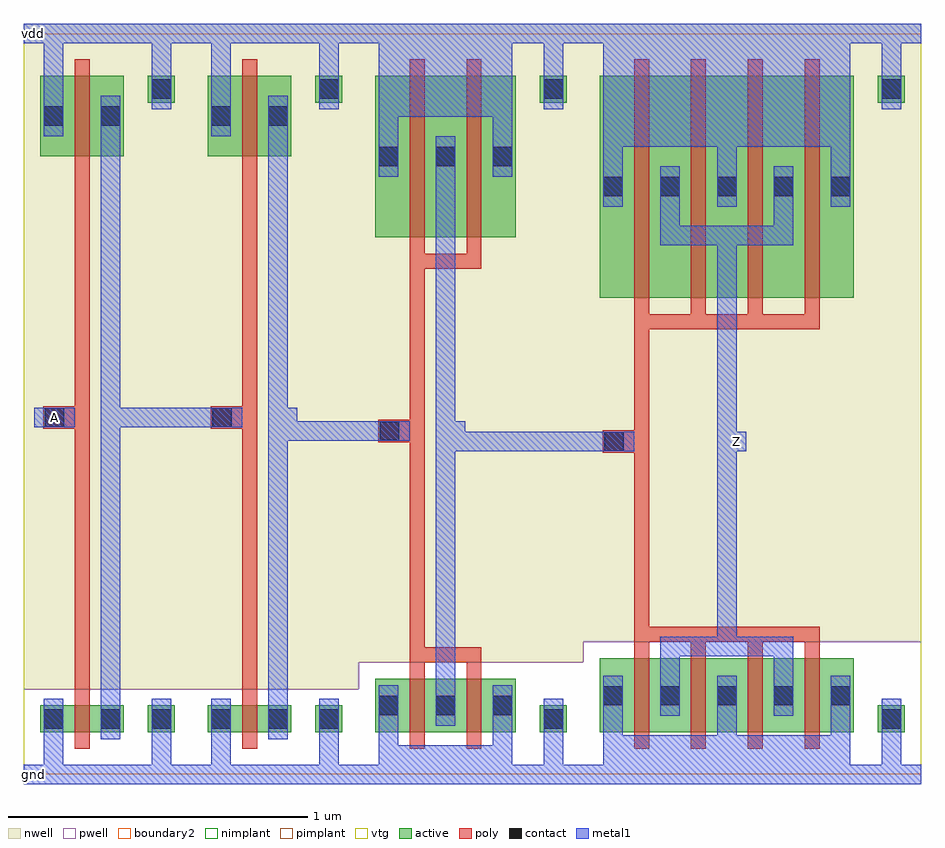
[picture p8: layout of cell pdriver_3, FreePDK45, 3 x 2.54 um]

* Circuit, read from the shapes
.subckt pdriver_3 A Z gnd vdd
M1 pinv_8_1/A A gnd gnd nfet w=0.09u l=0.05u
M2 pinv_7_2/A pinv_8_1/A gnd gnd nfet w=0.09u l=0.05u
M3 pinv_13_3/A pinv_7_2/A gnd gnd nfet w=0.18u l=0.05u m=2
M4 Z pinv_13_3/A gnd gnd nfet w=0.2475u l=0.05u m=4
M5 pinv_8_1/A A vdd vdd pfet w=0.27u l=0.05u
M6 pinv_7_2/A pinv_8_1/A vdd vdd pfet w=0.27u l=0.05u
M7 pinv_13_3/A pinv_7_2/A vdd vdd pfet w=0.54u l=0.05u m=2
M8 Z pinv_13_3/A vdd vdd pfet w=0.7425u l=0.05u m=4
.ends

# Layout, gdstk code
import gdstk
lib = gdstk.Library(unit=1e-6, precision=5e-10)
def R(c, l, rs):  # rectangles x0, y0, x1, y1
    for r in rs: c.add(gdstk.rectangle(r[:2], r[2:], *l))
def A(c, l, x, y, w, h, nx, ny, dx, dy):  # array of equal rectangles
    R(c, l, [(x+i*dx, y+j*dy, x+i*dx+w, y+j*dy+h) for i in range(nx) for j in range(ny)])
active = (1, 0)
pwell = (2, 0)
nwell = (3, 0)
nimplant = (4, 0)
pimplant = (5, 0)
vtg = (6, 0)
poly = (9, 0)
contact = (10, 0)
metal1 = (11, 0)
boundary2 = (239, 0)

contact_9 = lib.new_cell('contact_9')
R(contact_9, active, [(0,0.0225,0.09,0.1125)])
R(contact_9, nwell, [(-0.055,-0.0325,0.145,0.1675)])
R(contact_9, pimplant, [(0,0.0225,0.09,0.1125)])
R(contact_9, contact, [(0.0125,0.035,0.0775,0.1)])
R(contact_9, metal1, [(0.0125,0,0.0775,0.135)])

pmos_m1_w0_270_a_p = lib.new_cell('pmos_m1_w0_270_a_p')
R(pmos_m1_w0_270_a_p, active, [(0,0,0.28,0.27)])
R(pmos_m1_w0_270_a_p, nwell, [(-0.055,-0.055,0.335,0.325)])
R(pmos_m1_w0_270_a_p, pimplant, [(0,0,0.28,0.27)])
R(pmos_m1_w0_270_a_p, vtg, [(-0.055,-0.055,0.335,0.325)])
R(pmos_m1_w0_270_a_p, poly, [(0.115,-0.055,0.165,0.325), (0.115,-0.055,0.165,0.325)])
R(pmos_m1_w0_270_a_p, metal1, [(0.0125,0.0675,0.0775,0.2025), (0.2025,0.0675,0.2675,0.2025)])
pmos_m1_w0_270_a_p.add(gdstk.Reference(contact_9, (0,0.0675)))
pmos_m1_w0_270_a_p.add(gdstk.Reference(contact_9, (0.19,0.0675)))
pmos_m1_w0_270_a_p.add(gdstk.Label('G', (0.14,0.135), layer=9, texttype=0))
pmos_m1_w0_270_a_p.add(gdstk.Label('S', (0.045,0.135), layer=11, texttype=0))
pmos_m1_w0_270_a_p.add(gdstk.Label('D', (0.235,0.135), layer=11, texttype=0))

contact_14 = lib.new_cell('contact_14')
R(contact_14, active, [(0,0.0225,0.09,0.1125)])
R(contact_14, pwell, [(-0.055,-0.0325,0.145,0.1675)])
R(contact_14, nimplant, [(0,0.0225,0.09,0.1125)])
R(contact_14, contact, [(0.0125,0.035,0.0775,0.1)])
R(contact_14, metal1, [(0.0125,0,0.0775,0.135)])

nmos_m1_w0_090_a_p = lib.new_cell('nmos_m1_w0_090_a_p')
R(nmos_m1_w0_090_a_p, active, [(0,0,0.28,0.09)])
R(nmos_m1_w0_090_a_p, pwell, [(-0.055,-0.055,0.335,0.145)])
R(nmos_m1_w0_090_a_p, nimplant, [(0,0,0.28,0.09)])
R(nmos_m1_w0_090_a_p, vtg, [(-0.055,-0.055,0.335,0.145)])
R(nmos_m1_w0_090_a_p, poly, [(0.115,-0.055,0.165,0.145), (0.115,-0.055,0.165,0.145)])
R(nmos_m1_w0_090_a_p, metal1, [(0.0125,-0.0225,0.0775,0.1125), (0.2025,-0.0225,0.2675,0.1125)])
nmos_m1_w0_090_a_p.add(gdstk.Reference(contact_14, (0,-0.0225)))
nmos_m1_w0_090_a_p.add(gdstk.Reference(contact_14, (0.19,-0.0225)))
nmos_m1_w0_090_a_p.add(gdstk.Label('G', (0.14,0.045), layer=9, texttype=0))
nmos_m1_w0_090_a_p.add(gdstk.Label('S', (0.045,0.045), layer=11, texttype=0))
nmos_m1_w0_090_a_p.add(gdstk.Label('D', (0.235,0.045), layer=11, texttype=0))

contact_18 = lib.new_cell('contact_18')
R(contact_18, active, [(0,0.0225,0.09,0.1125)])
R(contact_18, nwell, [(-0.055,-0.0325,0.145,0.1675)])
R(contact_18, nimplant, [(0,0.0225,0.09,0.1125)])
R(contact_18, contact, [(0.0125,0.035,0.0775,0.1)])
R(contact_18, metal1, [(0.0125,0,0.0775,0.135)])

contact_19 = lib.new_cell('contact_19')
R(contact_19, active, [(0,0.0225,0.09,0.1125)])
R(contact_19, pwell, [(-0.055,-0.0325,0.145,0.1675)])
R(contact_19, pimplant, [(0,0.0225,0.09,0.1125)])
R(contact_19, contact, [(0.0125,0.035,0.0775,0.1)])
R(contact_19, metal1, [(0.0125,0,0.0775,0.135)])

contact_10 = lib.new_cell('contact_10')
R(contact_10, poly, [(0.03,0,0.105,0.075)])
R(contact_10, contact, [(0.035,0.005,0.1,0.07)])
R(contact_10, metal1, [(0,0.005,0.135,0.07)])

pinv_8 = lib.new_cell('pinv_8')
R(pinv_8, pwell, [(0,-0.0325,0.56,0.285)])
R(pinv_8, nwell, [(0,0.285,0.56,2.5075)])
R(pinv_8, vtg, [(0,-0.0325,0.56,0.285), (0,0.285,0.56,2.5075)])
R(pinv_8, poly, [(0.17,0.085,0.22,2.01), (0.1025,1.155,0.17,1.23)])
R(pinv_8, metal1, [(0,-0.0325,0.56,0.0325), (0.0675,-0.0325,0.1325,0.1175), (0.4275,0,0.4925,0.185), (0.2575,0.1175,0.3225,2.2675), (0.035,1.16,0.17,1.225), (0.29,1.16,0.355,1.225), (0.0675,2.1325,0.1325,2.5075), (0.4275,2.29,0.4925,2.475), (0,2.4425,0.56,2.5075)])
R(pinv_8, boundary2, [(0,0,0.56,2.475)])
pinv_8.add(gdstk.Reference(pmos_m1_w0_270_a_p, (0.055,2.065)))
pinv_8.add(gdstk.Reference(nmos_m1_w0_090_a_p, (0.055,0.14)))
pinv_8.add(gdstk.Reference(contact_18, (0.415,2.2225)))
pinv_8.add(gdstk.Reference(contact_19, (0.415,0.1175)))
pinv_8.add(gdstk.Reference(contact_10, (0.035,1.155)))
pinv_8.add(gdstk.Label('gnd', (0.28,0), layer=11, texttype=0))
pinv_8.add(gdstk.Label('vdd', (0.28,2.475), layer=11, texttype=0))
pinv_8.add(gdstk.Label('A', (0.1025,1.1925), layer=11, texttype=0))
pinv_8.add(gdstk.Label('Z', (0.3225,1.1925), layer=11, texttype=0))

pmos_m2_w0_540_a_p = lib.new_cell('pmos_m2_w0_540_a_p')
R(pmos_m2_w0_540_a_p, active, [(0,0,0.47,0.54)])
R(pmos_m2_w0_540_a_p, nwell, [(-0.055,-0.055,0.525,0.595)])
R(pmos_m2_w0_540_a_p, pimplant, [(0,0,0.47,0.54)])
R(pmos_m2_w0_540_a_p, vtg, [(-0.055,-0.055,0.525,0.595)])
R(pmos_m2_w0_540_a_p, poly, [(0.115,-0.105,0.355,-0.055), (0.115,-0.055,0.165,0.595), (0.305,-0.055,0.355,0.595)])
R(pmos_m2_w0_540_a_p, metal1, [(0.2025,0.2025,0.2675,0.3375), (0.0125,0.27,0.0775,0.435), (0.3925,0.27,0.4575,0.435), (0.0125,0.4025,0.4575,0.4675)])
pmos_m2_w0_540_a_p.add(gdstk.Reference(contact_9, (0,0.2025)))
pmos_m2_w0_540_a_p.add(gdstk.Reference(contact_9, (0.38,0.2025)))
pmos_m2_w0_540_a_p.add(gdstk.Reference(contact_9, (0.19,0.2025)))
pmos_m2_w0_540_a_p.add(gdstk.Label('G', (0.235,-0.08), layer=9, texttype=0))
pmos_m2_w0_540_a_p.add(gdstk.Label('S', (0.235,0.435), layer=11, texttype=0))
pmos_m2_w0_540_a_p.add(gdstk.Label('D', (0.235,0.27), layer=11, texttype=0))

nmos_m2_w0_180_a_p = lib.new_cell('nmos_m2_w0_180_a_p')
R(nmos_m2_w0_180_a_p, active, [(0,0,0.47,0.18)])
R(nmos_m2_w0_180_a_p, pwell, [(-0.055,-0.055,0.525,0.235)])
R(nmos_m2_w0_180_a_p, nimplant, [(0,0,0.47,0.18)])
R(nmos_m2_w0_180_a_p, vtg, [(-0.055,-0.055,0.525,0.235)])
R(nmos_m2_w0_180_a_p, poly, [(0.115,-0.055,0.165,0.235), (0.305,-0.055,0.355,0.235), (0.115,0.235,0.355,0.285)])
R(nmos_m2_w0_180_a_p, metal1, [(0.0125,-0.1075,0.4575,-0.0425), (0.0125,-0.075,0.0775,0.09), (0.3925,-0.075,0.4575,0.09), (0.2025,0.0225,0.2675,0.1575)])
nmos_m2_w0_180_a_p.add(gdstk.Reference(contact_14, (0,0.0225)))
nmos_m2_w0_180_a_p.add(gdstk.Reference(contact_14, (0.38,0.0225)))
nmos_m2_w0_180_a_p.add(gdstk.Reference(contact_14, (0.19,0.0225)))
nmos_m2_w0_180_a_p.add(gdstk.Label('G', (0.235,0.26), layer=9, texttype=0))
nmos_m2_w0_180_a_p.add(gdstk.Label('S', (0.235,-0.075), layer=11, texttype=0))
nmos_m2_w0_180_a_p.add(gdstk.Label('D', (0.235,0.09), layer=11, texttype=0))

pinv_7 = lib.new_cell('pinv_7')
R(pinv_7, pwell, [(0,-0.0325,0.75,0.375)])
R(pinv_7, nwell, [(0,0.375,0.75,2.5075)])
R(pinv_7, vtg, [(0,-0.0325,0.75,0.375), (0,0.375,0.75,2.5075)])
R(pinv_7, poly, [(0.17,0.375,0.22,1.69), (0.1025,1.11,0.17,1.185)])
R(pinv_7, metal1, [(0,-0.0325,0.75,0.0325), (0.0675,-0.0325,0.5125,0.0325), (0.6175,0,0.6825,0.185), (0.2575,0.1625,0.3225,2.1325), (0.035,1.115,0.17,1.18), (0.29,1.115,0.355,1.18), (0.0675,2.1975,0.5125,2.5075), (0.6175,2.29,0.6825,2.475), (0,2.4425,0.75,2.5075)])
R(pinv_7, boundary2, [(0,0,0.75,2.475)])
pinv_7.add(gdstk.Reference(pmos_m2_w0_540_a_p, (0.055,1.795)))
pinv_7.add(gdstk.Reference(nmos_m2_w0_180_a_p, (0.055,0.14)))
pinv_7.add(gdstk.Reference(contact_18, (0.605,2.2225)))
pinv_7.add(gdstk.Reference(contact_19, (0.605,0.1175)))
pinv_7.add(gdstk.Reference(contact_10, (0.035,1.11)))
pinv_7.add(gdstk.Label('gnd', (0.375,0), layer=11, texttype=0))
pinv_7.add(gdstk.Label('vdd', (0.375,2.475), layer=11, texttype=0))
pinv_7.add(gdstk.Label('A', (0.1025,1.1475), layer=11, texttype=0))
pinv_7.add(gdstk.Label('Z', (0.3225,1.1475), layer=11, texttype=0))

pmos_m4_w0_743_a_p = lib.new_cell('pmos_m4_w0_743_a_p')
R(pmos_m4_w0_743_a_p, active, [(0,0,0.85,0.7425)])
R(pmos_m4_w0_743_a_p, nwell, [(-0.055,-0.055,0.905,0.7975)])
R(pmos_m4_w0_743_a_p, pimplant, [(0,0,0.85,0.7425)])
R(pmos_m4_w0_743_a_p, vtg, [(-0.055,-0.055,0.905,0.7975)])
A(pmos_m4_w0_743_a_p, poly, 0.115, -0.055, 0.05, 0.8525, 4, 1, 0.19, 0)
R(pmos_m4_w0_743_a_p, poly, [(0.115,-0.105,0.735,-0.055)])
A(pmos_m4_w0_743_a_p, metal1, 0.0125, 0.37, 0.065, 0.165, 3, 1, 0.38, 0)
R(pmos_m4_w0_743_a_p, metal1, [(0.2025,0.175,0.6475,0.24), (0.2025,0.205,0.2675,0.37), (0.5825,0.205,0.6475,0.37), (0.0125,0.505,0.8375,0.57)])
pmos_m4_w0_743_a_p.add(gdstk.Reference(contact_9, (0,0.305)))
pmos_m4_w0_743_a_p.add(gdstk.Reference(contact_9, (0.38,0.305)))
pmos_m4_w0_743_a_p.add(gdstk.Reference(contact_9, (0.76,0.305)))
pmos_m4_w0_743_a_p.add(gdstk.Reference(contact_9, (0.19,0.305)))
pmos_m4_w0_743_a_p.add(gdstk.Reference(contact_9, (0.57,0.305)))
pmos_m4_w0_743_a_p.add(gdstk.Label('G', (0.425,-0.08), layer=9, texttype=0))
pmos_m4_w0_743_a_p.add(gdstk.Label('S', (0.425,0.5375), layer=11, texttype=0))
pmos_m4_w0_743_a_p.add(gdstk.Label('D', (0.425,0.2075), layer=11, texttype=0))

nmos_m4_w0_247_a_p = lib.new_cell('nmos_m4_w0_247_a_p')
R(nmos_m4_w0_247_a_p, active, [(0,0,0.85,0.2475)])
R(nmos_m4_w0_247_a_p, pwell, [(-0.055,-0.055,0.905,0.3025)])
R(nmos_m4_w0_247_a_p, nimplant, [(0,0,0.85,0.2475)])
R(nmos_m4_w0_247_a_p, vtg, [(-0.055,-0.055,0.905,0.3025)])
A(nmos_m4_w0_247_a_p, poly, 0.115, -0.055, 0.05, 0.3575, 4, 1, 0.19, 0)
R(nmos_m4_w0_247_a_p, poly, [(0.115,0.3025,0.735,0.3525)])
A(nmos_m4_w0_247_a_p, metal1, 0.0125, -0.04, 0.065, 0.165, 3, 1, 0.38, 0)
R(nmos_m4_w0_247_a_p, metal1, [(0.0125,-0.075,0.8375,-0.01), (0.2025,0.125,0.2675,0.29), (0.5825,0.125,0.6475,0.29), (0.2025,0.255,0.6475,0.32)])
nmos_m4_w0_247_a_p.add(gdstk.Reference(contact_14, (0,0.055)))
nmos_m4_w0_247_a_p.add(gdstk.Reference(contact_14, (0.38,0.055)))
nmos_m4_w0_247_a_p.add(gdstk.Reference(contact_14, (0.76,0.055)))
nmos_m4_w0_247_a_p.add(gdstk.Reference(contact_14, (0.19,0.055)))
nmos_m4_w0_247_a_p.add(gdstk.Reference(contact_14, (0.57,0.055)))
nmos_m4_w0_247_a_p.add(gdstk.Label('G', (0.425,0.3275), layer=9, texttype=0))
nmos_m4_w0_247_a_p.add(gdstk.Label('S', (0.425,-0.0425), layer=11, texttype=0))
nmos_m4_w0_247_a_p.add(gdstk.Label('D', (0.425,0.2875), layer=11, texttype=0))

pinv_13 = lib.new_cell('pinv_13')
R(pinv_13, pwell, [(0,-0.0325,1.13,0.4425)])
R(pinv_13, nwell, [(0,0.4425,1.13,2.5075)])
R(pinv_13, vtg, [(0,-0.0325,1.13,0.4425), (0,0.4425,1.13,2.5075)])
R(pinv_13, poly, [(0.17,0.4425,0.22,1.4875), (0.1025,1.075,0.17,1.15)])
R(pinv_13, metal1, [(0,-0.0325,1.13,0.0325), (0.0675,-0.0325,0.8925,0.065), (0.9975,0,1.0625,0.185), (0.4475,0.395,0.5125,1.8325), (0.035,1.08,0.17,1.145), (0.48,1.08,0.545,1.145), (0.0675,2.0975,0.8925,2.5075), (0.9975,2.29,1.0625,2.475), (0,2.4425,1.13,2.5075)])
R(pinv_13, boundary2, [(0,0,1.13,2.475)])
pinv_13.add(gdstk.Reference(pmos_m4_w0_743_a_p, (0.055,1.5925)))
pinv_13.add(gdstk.Reference(nmos_m4_w0_247_a_p, (0.055,0.14)))
pinv_13.add(gdstk.Reference(contact_18, (0.985,2.2225)))
pinv_13.add(gdstk.Reference(contact_19, (0.985,0.1175)))
pinv_13.add(gdstk.Reference(contact_10, (0.035,1.075)))
pinv_13.add(gdstk.Label('gnd', (0.565,0), layer=11, texttype=0))
pinv_13.add(gdstk.Label('vdd', (0.565,2.475), layer=11, texttype=0))
pinv_13.add(gdstk.Label('A', (0.1025,1.1125), layer=11, texttype=0))
pinv_13.add(gdstk.Label('Z', (0.5125,1.1125), layer=11, texttype=0))

pdriver_3 = lib.new_cell('pdriver_3')
R(pdriver_3, metal1, [(0,-0.0325,0.065,0.0325), (1.41,1.08,1.475,1.145), (1.4425,1.08,1.9725,1.145), (2.35,1.08,2.415,1.145), (1.41,1.1125,1.475,1.1475), (0.85,1.115,0.915,1.18), (0.8825,1.115,1.2225,1.18), (0.85,1.1475,0.915,1.1925), (0.035,1.16,0.17,1.225), (0.3225,1.16,0.6625,1.225), (0,2.4425,0.065,2.5075)])
R(pdriver_3, boundary2, [(0,0,3,2.475)])
pdriver_3.add(gdstk.Reference(pinv_8, (0,0)))
pdriver_3.add(gdstk.Reference(pinv_8, (0.56,0)))
pdriver_3.add(gdstk.Reference(pinv_7, (1.12,0)))
pdriver_3.add(gdstk.Reference(pinv_13, (1.87,0)))
pdriver_3.add(gdstk.Label('vdd', (0.0325,2.475), layer=11, texttype=0))
pdriver_3.add(gdstk.Label('gnd', (0.0325,0), layer=11, texttype=0))
pdriver_3.add(gdstk.Label('Z', (2.3825,1.1125), layer=11, texttype=0))
pdriver_3.add(gdstk.Label('A', (0.1025,1.1925), layer=11, texttype=0))

lib.write_gds('pdriver_3.gds')
